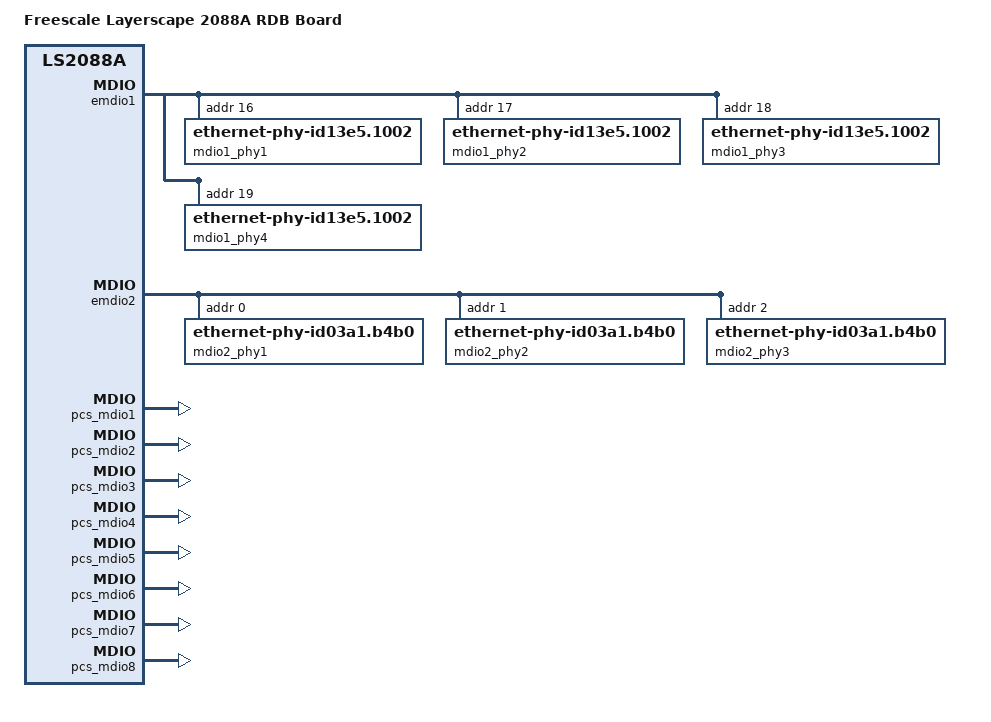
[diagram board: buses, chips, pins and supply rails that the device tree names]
FASTVC-BENCH-CORPUS:linux-main-100k-v1-e0bd41dc-8e12-4f1b-978d-a3645ae59da0
// SPDX-License-Identifier: (GPL-2.0+ OR MIT)
/*
 * Device Tree file for Freescale LS2088A RDB Board.
 *
 * Copyright 2016 Freescale Semiconductor, Inc.
 * Copyright 2017 NXP
 *
 * Abhimanyu Saini <abhimanyu.saini@nxp.com>
 *
 */

/dts-v1/;

#include "fsl-ls2088a.dtsi"
#include "fsl-ls208xa-rdb.dtsi"

/ {
	model = "Freescale Layerscape 2088A RDB Board";
	compatible = "fsl,ls2088a-rdb", "fsl,ls2088a";

	chosen {
		stdout-path = "serial1:115200n8";
	};
};

&dpmac1 {
	phy-handle = <&mdio1_phy1>;
	phy-connection-type = "10gbase-r";
};

&dpmac2 {
	phy-handle = <&mdio1_phy2>;
	phy-connection-type = "10gbase-r";
};

&dpmac3 {
	phy-handle = <&mdio1_phy3>;
	phy-connection-type = "10gbase-r";
};

&dpmac4 {
	phy-handle = <&mdio1_phy4>;
	phy-connection-type = "10gbase-r";
};

&dpmac5 {
	phy-handle = <&mdio2_phy1>;
	phy-connection-type = "10gbase-r";
};

&dpmac6 {
	phy-handle = <&mdio2_phy2>;
	phy-connection-type = "10gbase-r";
};

&dpmac7 {
	phy-handle = <&mdio2_phy3>;
	phy-connection-type = "10gbase-r";
};

&dpmac8 {
	phy-handle = <&mdio2_phy4>;
	phy-connection-type = "10gbase-r";
};

&emdio1 {
	status = "okay";

	mdio1_phy1: ethernet-phy@10 {
		compatible = "ethernet-phy-id13e5.1002";
		reg = <0x10>;
	};

	mdio1_phy2: ethernet-phy@11 {
		compatible = "ethernet-phy-id13e5.1002";
		reg = <0x11>;
	};

	mdio1_phy3: ethernet-phy@12 {
		compatible = "ethernet-phy-id13e5.1002";
		reg = <0x12>;
	};

	mdio1_phy4: ethernet-phy@13 {
		compatible = "ethernet-phy-id13e5.1002";
		reg = <0x13>;
	};
};

&emdio2 {
	status = "okay";

	mdio2_phy1: ethernet-phy@0 {
		compatible = "ethernet-phy-id03a1.b4b0", "ethernet-phy-ieee802.3-c45";
		reg = <0x0>;
	};

	mdio2_phy2: ethernet-phy@1 {
		compatible = "ethernet-phy-id03a1.b4b0", "ethernet-phy-ieee802.3-c45";
		reg = <0x1>;
	};

	mdio2_phy3: ethernet-phy@2 {
		compatible = "ethernet-phy-id03a1.b4b0", "ethernet-phy-ieee802.3-c45";
		reg = <0x2>;
	};

/* bench 14523.0.0 6ed9f9f788b6 */
/* bench 14523.0.1 7a4a15fc64b5 */
/* bench 14523.0.2 c46b1dafef79 */
/* bench 14523.0.3 5dc6c42806f6 */
/* bench 14523.0.4 2188c19d6000 */
/* bench 14523.0.5 67ae1ec9dae2 */
/* bench 14523.0.6 8c47f60ba10b */
/* bench 14523.0.7 3a3fa342f80d */
/* bench 14523.0.8 77cad310a40a */
/* bench 14523.0.9 bbed7ac55192 */
/* bench 14523.0.10 8be9d15b0207 */
/* bench 14523.0.11 2d7c514b43ae */
/* bench 14523.0.12 a4e2003aec12 */
/* bench 14523.0.13 439de39a7d30 */
/* bench 14523.0.14 f403518bfe07 */
/* bench 14523.0.15 58b11a4ee259 */
	};
};

/* bench 20472.1.0 5c7c1c16be12 */
/* bench 20472.1.1 d5c4319b80fd */
/* bench 20472.1.2 3db331f322c1 */
/* bench 20472.1.3 a1b92f625f7b */
/* bench 20472.1.4 47c5785d0185 */
/* bench 20472.1.5 a059c53be0df */
/* bench 20472.1.6 546249876758 */
/* bench 20472.1.7 cb01c47bb706 */
/* bench 20472.1.8 4e55a2e2430a */
&pcs_mdio1 {
	status = "okay";
};

&pcs_mdio2 {
	status = "okay";
};

&pcs_mdio3 {
	status = "okay";
};

&pcs_mdio4 {
	status = "okay";
};

&pcs_mdio5 {
	status = "okay";
};

&pcs_mdio6 {
	status = "okay";
};

&pcs_mdio7 {
	status = "okay";
};

&pcs_mdio8 {
	status = "okay";
};
